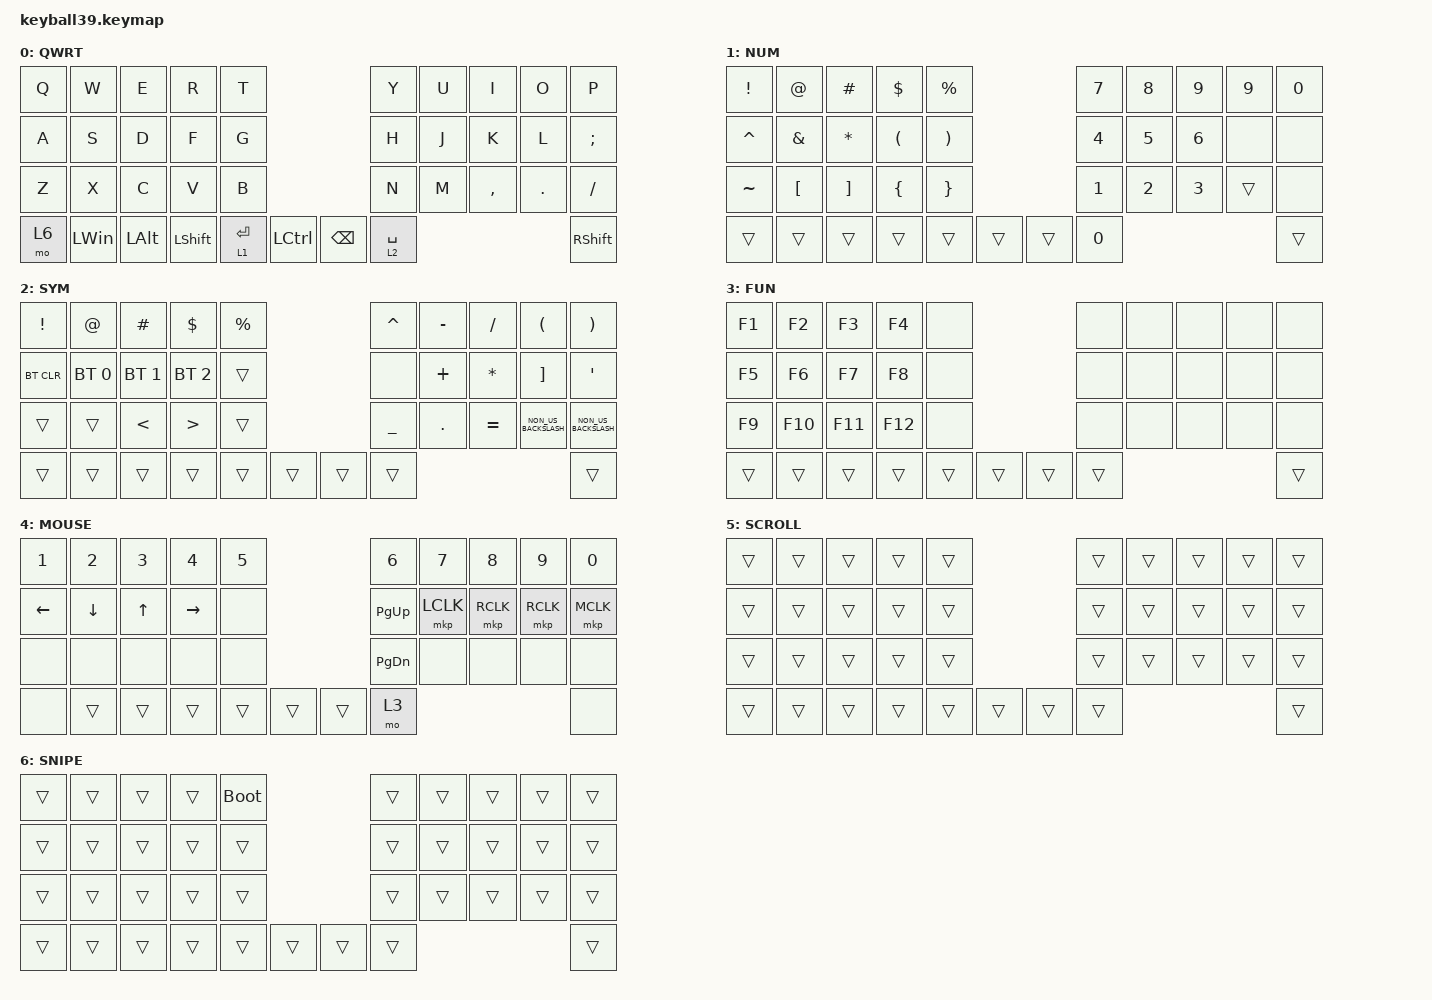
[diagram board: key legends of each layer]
#define DEFAULT 0
#define NUM     1
#define SYM     2
#define FUN     3
#define MOUSE   4
#define SCROLL  5
#define SNIPE   6

#include <behaviors/mouse_keys.dtsi>
#include <dt-bindings/zmk/mouse.h>
#include <behaviors.dtsi>
#include <dt-bindings/zmk/bt.h>
#include <dt-bindings/zmk/keys.h>
#include <dt-bindings/zmk/pointing.h>

&nice_view_spi { cs-gpios = <&pro_micro 1 GPIO_ACTIVE_HIGH>; };

&lt {
    tapping-term-ms = <240>;
    flavor = "balanced";
    quick-tap-ms = <150>;
};

&mt {
    tapping-term-ms = <200>;
    flavor = "tap-preferred";
    quick-tap-ms = <150>;
};

&caps_word { continue-list = <UNDERSCORE MINUS>; };

/ {
    // custom shift using mod-morph 

    behaviors {
        cmqus: comma_question {
            compatible = "zmk,behavior-mod-morph";
            label = "COMMA_QUESTION";
            #binding-cells = <0>;
            bindings = <&kp COMMA>, <&kp QUESTION>;

            mods = <(MOD_LSFT|MOD_RSFT)>;
        };

        dtsmi: dot_semi {
            compatible = "zmk,behavior-mod-morph";
            label = "DOT_SEMI";
            #binding-cells = <0>;
            bindings = <&kp DOT>, <&kp SEMI>;

            mods = <(MOD_LSFT|MOD_RSFT)>;
        };
    };

    macros {
        Hiragana: Hiragana {
            compatible = "zmk,behavior-macro";
            #binding-cells = <0>;
            bindings = <&kp LC(SPACE)>;
            label = "HIRAGANA";
        };
    };

    keymap {
        compatible = "zmk,keymap";

        default_layer {
            label = "QWRT";
            bindings = <
&kp Q  &kp W         &kp E     &kp R           &kp T                                         &kp Y        &kp U  &kp I      &kp O    &kp P
&kp A  &kp S         &kp D     &kp F           &kp G                                         &kp H        &kp J  &kp K      &kp L    &kp SEMI
&kp Z  &kp X         &kp C     &kp V           &kp B                                         &kp N        &kp M  &kp COMMA  &kp DOT  &kp SLASH
&mo 6  &kp LEFT_WIN  &kp LALT  &kp LEFT_SHIFT  &lt 1 ENTER  &kp LEFT_CONTROL  &kp BACKSPACE  &lt 2 SPACE                             &kp RSHFT
            >;
        };

        number_layer {
            label = "NUM";
            bindings = <
&kp EXCLAMATION  &kp AT_SIGN       &kp HASH           &kp DOLLAR            &kp PERCENT                            &kp NUMBER_7  &kp NUMBER_8  &kp NUMBER_9  &kp NUMBER_9  &kp NUMBER_0
&kp CARET        &kp AMPERSAND     &kp ASTERISK       &kp LEFT_PARENTHESIS  &kp RIGHT_PARENTHESIS                  &kp NUMBER_4  &kp NUMBER_5  &kp NUMBER_6  &none         &none
&kp TILDE        &kp LEFT_BRACKET  &kp RIGHT_BRACKET  &kp LEFT_BRACE        &kp RIGHT_BRACE                        &kp NUMBER_1  &kp NUMBER_2  &kp NUMBER_3  &trans        &none
&trans           &trans            &trans             &trans                &trans                 &trans  &trans  &kp NUMBER_0                                            &trans
            >;
        };

        symbol_layer {
            label = "SYM";
            bindings = <
&kp EXCLAMATION  &kp AT_SIGN   &kp HASH       &kp DOLLAR        &kp PERCENT                  &kp CARET       &kp MINUS   &kp SLASH     &kp LEFT_PARENTHESIS  &kp RIGHT_PARENTHESIS
&bt BT_CLR       &bt BT_SEL 0  &bt BT_SEL 1   &bt BT_SEL 2      &trans                       &none           &kp PLUS    &kp ASTERISK  &kp RIGHT_BRACKET     &kp SQT
&trans           &trans        &kp LESS_THAN  &kp GREATER_THAN  &trans                       &kp UNDERSCORE  &kp PERIOD  &kp EQUAL     &kp NON_US_BACKSLASH  &kp NON_US_BACKSLASH
&trans           &trans        &trans         &trans            &trans       &trans  &trans  &trans                                                          &trans
            >;
        };

        function_layer {
            label = "FUN";
            bindings = <
&kp F1  &kp F2   &kp F3   &kp F4   &none                   &none   &none  &none  &none  &none
&kp F5  &kp F6   &kp F7   &kp F8   &none                   &none   &none  &none  &none  &none
&kp F9  &kp F10  &kp F11  &kp F12  &none                   &none   &none  &none  &none  &none
&trans  &trans   &trans   &trans   &trans  &trans  &trans  &trans                       &trans
            >;
        };

        mouse_layer {
            label = "MOUSE";
            bindings = <
&kp N1          &kp N2          &kp N3        &kp N4     &kp N5                  &kp N6         &kp N7     &kp N8     &kp N9     &kp N0
&kp LEFT_ARROW  &kp DOWN_ARROW  &kp UP_ARROW  &kp RIGHT  &none                   &kp PAGE_UP    &mkp LCLK  &mkp RCLK  &mkp RCLK  &mkp MCLK
&none           &none           &none         &none      &none                   &kp PAGE_DOWN  &none      &none      &none      &none
&none           &trans          &trans        &trans     &trans  &trans  &trans  &mo 3                                           &none
            >;
        };

        scroll_layer {
            label = "SCROLL";
            bindings = <
&trans  &trans  &trans  &trans  &trans                  &trans  &trans  &trans  &trans  &trans
&trans  &trans  &trans  &trans  &trans                  &trans  &trans  &trans  &trans  &trans
&trans  &trans  &trans  &trans  &trans                  &trans  &trans  &trans  &trans  &trans
&trans  &trans  &trans  &trans  &trans  &trans  &trans  &trans                          &trans
            >;
        };

        snipe_layer {
            label = "SNIPE";
            bindings = <
&trans  &trans  &trans  &trans  &bootloader                  &trans  &trans  &trans  &trans  &trans
&trans  &trans  &trans  &trans  &trans                       &trans  &trans  &trans  &trans  &trans
&trans  &trans  &trans  &trans  &trans                       &trans  &trans  &trans  &trans  &trans
&trans  &trans  &trans  &trans  &trans       &trans  &trans  &trans                          &trans
            >;
        };
    };
};
